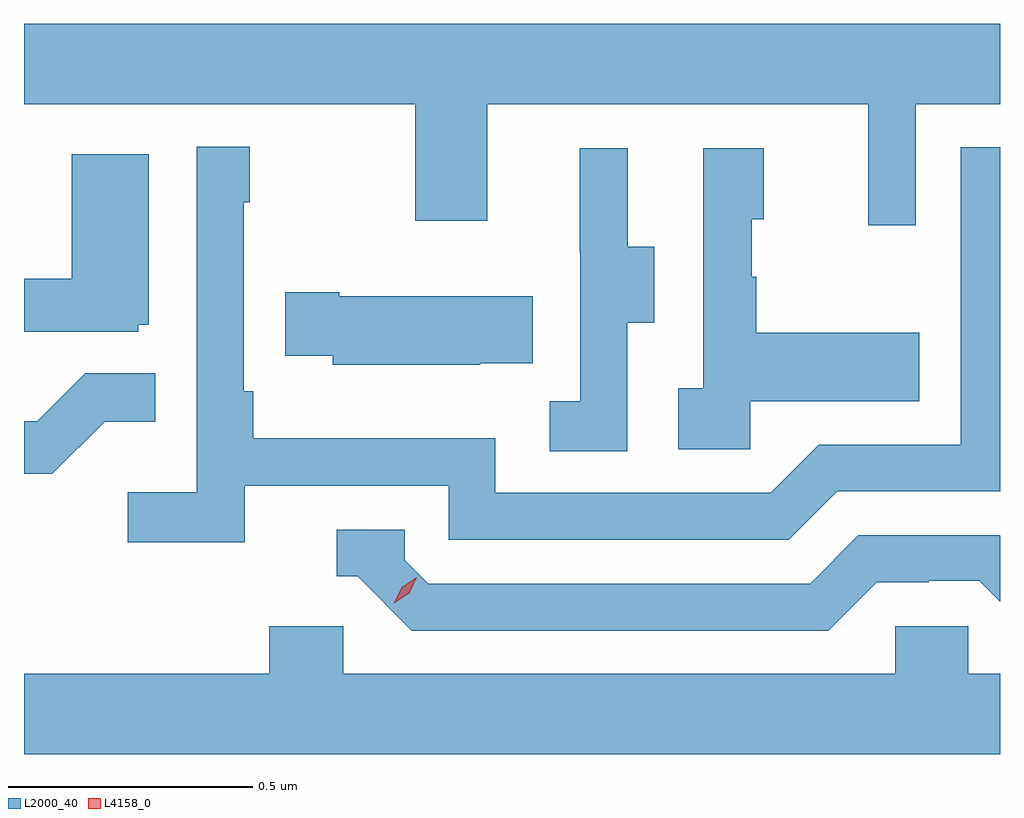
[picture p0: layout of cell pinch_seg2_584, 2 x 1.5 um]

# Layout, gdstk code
import gdstk
lib = gdstk.Library(unit=1e-6, precision=1e-09)
def P(c, l, *ps):  # polygons
    for p in ps: c.add(gdstk.Polygon(p, *l))
L2000_40 = (2000, 40)
L4158_0 = (4158, 0)

pinch_seg2_584 = lib.new_cell('pinch_seg2_584')
P(pinch_seg2_584, L2000_40, [(1126.779,606.344),(1126.952,606.344),(1126.952,606.508),(1124.952,606.508),(1124.952,606.344),(1125.754,606.344),(1125.754,606.105),(1125.901,606.105),(1125.901,606.344),(1126.682,606.344),(1126.682,606.096),(1126.779,606.096)],
  [(1125.404,605.562),(1125.822,605.562),(1125.822,605.451),(1126.519,605.451),(1126.618,605.55),(1126.952,605.55),(1126.952,606.255),(1126.872,606.255),(1126.872,605.646),(1126.581,605.646),(1126.482,605.547),(1125.918,605.547),(1125.918,605.659),(1125.422,605.659),(1125.422,605.755),(1125.402,605.755),(1125.402,606.143),(1125.415,606.143),(1125.415,606.256),(1125.306,606.256),(1125.306,605.548),(1125.165,605.548),(1125.165,605.446),(1125.404,605.446)],
  [(1126.44,605.735),(1126.787,605.735),(1126.787,605.875),(1126.453,605.875),(1126.453,605.99),(1126.443,605.99),(1126.443,606.108),(1126.468,606.108),(1126.468,606.253),(1126.344,606.253),(1126.344,605.762),(1126.293,605.762),(1126.293,605.637),(1126.44,605.637)],
  [(1126.188,605.896),(1126.243,605.896),(1126.243,606.051),(1126.189,606.051),(1126.189,606.253),(1126.091,606.253),(1126.091,606.039),(1126.092,606.039),(1126.092,605.735),(1126.029,605.735),(1126.029,605.632),(1126.188,605.632)],
  [(1125.186,605.892),(1125.208,605.892),(1125.208,606.241),(1125.05,606.241),(1125.05,605.986),(1124.952,605.986),(1124.952,605.877),(1125.186,605.877)],
  [(1125.887,605.813),(1125.995,605.813),(1125.995,605.95),(1125.598,605.95),(1125.598,605.958),(1125.487,605.958),(1125.487,605.828),(1125.585,605.828),(1125.585,605.81),(1125.887,605.81)],
  [(1125.117,605.693),(1125.221,605.693),(1125.221,605.792),(1125.077,605.792),(1124.979,605.694),(1124.952,605.694),(1124.952,605.586),(1125.01,605.586)],
  [(1126.699,605.364),(1126.806,605.364),(1126.806,605.367),(1126.909,605.367),(1126.951,605.325),(1126.952,605.325),(1126.952,605.459),(1126.951,605.46),(1126.662,605.46),(1126.563,605.361),(1125.78,605.361),(1125.732,605.409),(1125.732,605.472),(1125.593,605.472),(1125.593,605.376),(1125.636,605.376),(1125.747,605.265),(1126.6,605.265)],
  [(1126.952,605.176),(1126.887,605.176),(1126.887,605.274),(1126.737,605.274),(1126.737,605.176),(1125.606,605.176),(1125.606,605.274),(1125.455,605.274),(1125.455,605.176),(1124.952,605.176),(1124.952,605.012),(1126.952,605.012)])
P(pinch_seg2_584, L4158_0, [(1125.711,605.321),(1125.711,605.322),(1125.726,605.354),(1125.757,605.374),(1125.757,605.374),(1125.757,605.374),(1125.741,605.341),(1125.711,605.321)])

lib.write_gds('pinch_seg2_584.gds')
